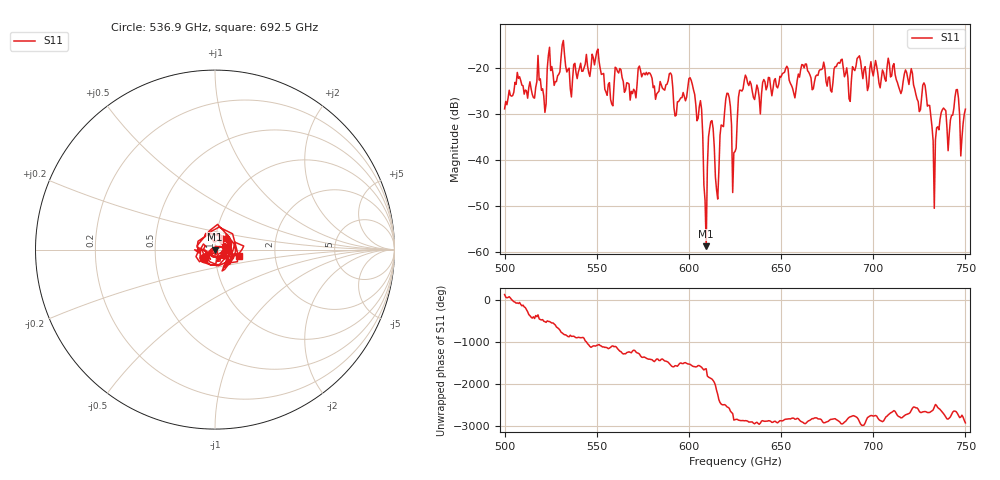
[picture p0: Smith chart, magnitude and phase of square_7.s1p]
!Created with skrf (http://scikit-rf.org).
# GHz S MA R 50.0
!freq magS11 angS11
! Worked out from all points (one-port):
!   401 points, 500 GHz to 750 GHz, reference 50 ohm
!   lowest |S11| = -58.6 dB at 609.4 GHz (marker M1), VSWR 1.00, Z = 49.9 + j0.0355 ohm
!   |S11| at or under -10 dB: start of sweep to end of sweep
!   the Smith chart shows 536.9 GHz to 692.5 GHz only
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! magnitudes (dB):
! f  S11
! 500 GHz  -28.8
! 507.5 GHz  -22.2
! 521.2 GHz  -26.0
! 531.2 GHz  -15.0
! 535.6 GHz  -24.4
! 550.6 GHz  -15.8
! 557.5 GHz  -26.8
! 562.5 GHz  -20.1
! 590 GHz  -21.0
! 593.8 GHz  -27.3
! 601.9 GHz  -23.6
! 606.2 GHz  -27.0
! 609.4 GHz  -58.6
! 611.9 GHz  -31.6
! 615 GHz  -46.4
! 620.6 GHz  -25.4
! 625 GHz  -38.1
! 627.5 GHz  -24.8
! 630.6 GHz  -21.5
! 656.2 GHz  -24.4
! 681.9 GHz  -18.9
! 687.5 GHz  -27.2
! 691.9 GHz  -17.6
! 718.8 GHz  -22.3
! 728.1 GHz  -23.7
! 733.1 GHz  -50.4
! 738.1 GHz  -28.7
! 750 GHz  -28.9
